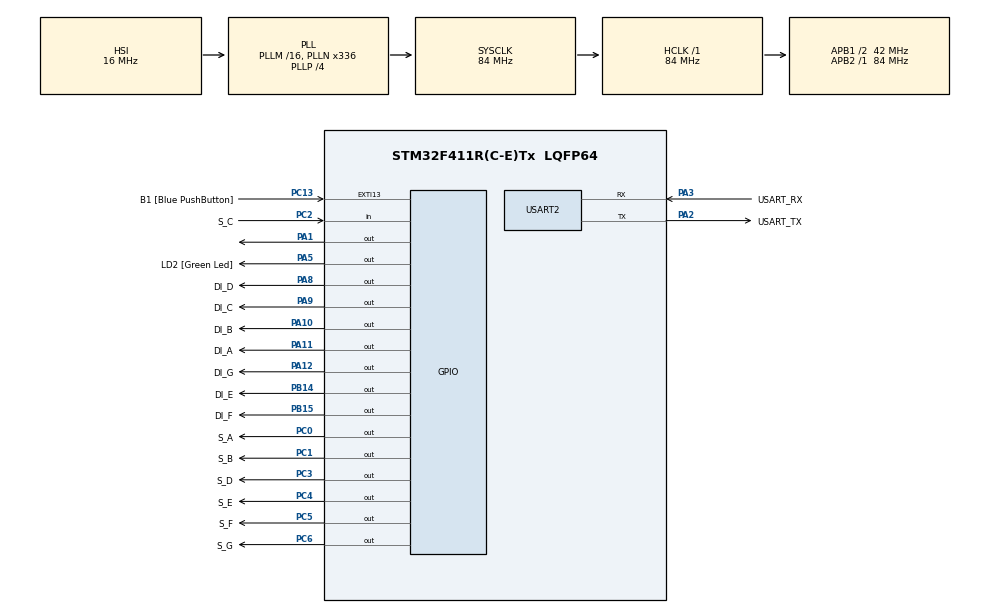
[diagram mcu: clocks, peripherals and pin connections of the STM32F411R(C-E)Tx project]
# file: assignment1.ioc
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Mcu.Family=STM32F4
Mcu.Name=STM32F411R(C-E)Tx
Mcu.Package=LQFP64
NVIC.PriorityGroup=NVIC_PRIORITYGROUP_0
PA1.Signal=GPIO_Output
PA10.GPIO_Label=DI_B
PA10.Signal=GPIO_Output
PA11.GPIO_Label=DI_A
PA11.Signal=GPIO_Output
PA12.GPIO_Label=DI_G
PA12.Signal=GPIO_Output
PA13.GPIO_Label=TMS
PA13.Mode=Serial_Wire
PA13.Signal=SYS_JTMS-SWDIO
PA14.GPIO_Label=TCK
PA14.Mode=Serial_Wire
PA14.Signal=SYS_JTCK-SWCLK
PA2.GPIO_Label=USART_TX
PA2.Mode=Asynchronous
PA2.Signal=USART2_TX
PA3.GPIO_Label=USART_RX
PA3.Mode=Asynchronous
PA3.Signal=USART2_RX
PA5.GPIO_Label=LD2 [Green Led]
PA5.Signal=GPIO_Output
PA8.GPIO_Label=DI_D
PA8.Signal=GPIO_Output
PA9.GPIO_Label=DI_C
PA9.Signal=GPIO_Output
PB14.GPIO_Label=DI_E
PB14.Signal=GPIO_Output
PB15.GPIO_Label=DI_F
PB15.Signal=GPIO_Output
PB3.GPIO_Label=SWO
PB3.Signal=SYS_JTDO-SWO
PC0.GPIO_Label=S_A
PC0.Signal=GPIO_Output
PC1.GPIO_Label=S_B
PC1.Signal=GPIO_Output
PC13-ANTI_TAMP.GPIO_Label=B1 [Blue PushButton]
PC13-ANTI_TAMP.GPIO_ModeDefaultEXTI=GPIO_MODE_IT_FALLING
PC13-ANTI_TAMP.Signal=GPXTI13
PC14-OSC32_IN.Mode=LSE-External-Oscillator
PC14-OSC32_IN.Signal=RCC_OSC32_IN
PC15-OSC32_OUT.Mode=LSE-External-Oscillator
PC15-OSC32_OUT.Signal=RCC_OSC32_OUT
PC2.GPIO_Label=S_C
PC2.Signal=GPIO_Input
PC3.GPIO_Label=S_D
PC3.Signal=GPIO_Output
PC4.GPIO_Label=S_E
PC4.Signal=GPIO_Output
PC5.GPIO_Label=S_F
PC5.Signal=GPIO_Output
PC6.GPIO_Label=S_G
PC6.Signal=GPIO_Output
PH0\ -\ OSC_IN.Mode=HSE-External-Clock-Source
PH0\ -\ OSC_IN.Signal=RCC_OSC_IN
PH1\ -\ OSC_OUT.Mode=HSE-External-Clock-Source
PH1\ -\ OSC_OUT.Signal=RCC_OSC_OUT
ProjectManager.HeapSize=0x200
ProjectManager.StackSize=0x400
ProjectManager.TargetToolchain=STM32CubeIDE
RCC.48MHZClocksFreq_Value=84000000
RCC.AHBFreq_Value=84000000
RCC.APB1CLKDivider=RCC_HCLK_DIV2
RCC.APB1Freq_Value=42000000
RCC.APB1TimFreq_Value=84000000
RCC.APB2Freq_Value=84000000
RCC.APB2TimFreq_Value=84000000
RCC.CortexFreq_Value=84000000
RCC.FLatency-AdvancedSettings=FLASH_LATENCY_2
RCC.HCLKFreq_Value=84000000
RCC.HSE_VALUE=8000000
RCC.HSI_VALUE=16000000
RCC.PLLN=336
RCC.PLLP=RCC_PLLP_DIV4
RCC.SYSCLKFreq_VALUE=84000000
RCC.SYSCLKSource=RCC_SYSCLKSOURCE_PLLCLK
RCC.VCOOutputFreq_Value=336000000
USART2.VirtualMode=VM_ASYNC
board=NUCLEO-F411RE

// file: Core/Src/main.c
/* USER CODE BEGIN Header */
/**
  ******************************************************************************
  * @file           : main.c
  * @brief          : Main program body
  ******************************************************************************
  * @attention
  *
  * Copyright (c) 2023 STMicroelectronics.
  * All rights reserved.
  *
  * This software is licensed under terms that can be found in the LICENSE file
  * in the root directory of this software component.
  * If no LICENSE file comes with this software, it is provided AS-IS.
  *
  ******************************************************************************
  */
/* USER CODE END Header */
#include "main.h"

UART_HandleTypeDef huart2;

void SystemClock_Config(void);
static void MX_GPIO_Init(void);
static void MX_USART2_UART_Init(void);
/* USER CODE BEGIN PFP */
int is_button_pressed()
{
	if(GPIOC->IDR & 0x2000)
	{
		return 0;
	}
	else
	{
		return 1;
	}
}

const int sseg[10] = {0x3f,0x06,0x5B,0x4F,0x66,0x6D,0x7D,0x7,0x7F,0x6F};
const int sseg_err = 0xDC;

void put_on_die_dots(int num_dice)
{

	GPIO_PinState a,b,c,d,e,f,g;
	a = b = c = d = e = f = g = GPIO_PIN_RESET;

	switch(num_dice)
	{
	case 1:
		d = GPIO_PIN_SET;
	break;

	case 2:
		 b = f = GPIO_PIN_SET;
	break;

	case 3:
		a = d = g = GPIO_PIN_SET;
	break;

	case 4:
		a = c = e = g = GPIO_PIN_SET;
	break;

	case 5:
		g = e = d = c = a = GPIO_PIN_SET;
	break;

	case 6:
		a = b = c = e = f = g = GPIO_PIN_SET;

	break;

	default:
		break;
	}

	HAL_GPIO_WritePin(DI_A_GPIO_Port, DI_A_Pin, a);
	HAL_GPIO_WritePin(DI_B_GPIO_Port, DI_B_Pin, b);
	HAL_GPIO_WritePin(DI_C_GPIO_Port, DI_C_Pin, c);
	HAL_GPIO_WritePin(DI_D_GPIO_Port, DI_D_Pin, d);
	HAL_GPIO_WritePin(DI_E_GPIO_Port, DI_E_Pin, e);
	HAL_GPIO_WritePin(DI_F_GPIO_Port, DI_F_Pin, f);
	HAL_GPIO_WritePin(DI_G_GPIO_Port, DI_G_Pin, g);

}

void put_on_sseg(int dec_nbr)
{
	if((dec_nbr > 0) && (dec_nbr < 10))
	{
		GPIOC->ODR = sseg[dec_nbr];
	}
	else
	{
		GPIOC->ODR = sseg_err;
	}
}

/* USER CODE END PFP */

int main(void)
{

  /* MCU Configuration--------------------------------------------------------*/

  /* Reset of all peripherals, Initializes the Flash interface and the Systick. */
  HAL_Init();

  /* Configure the system clock */
  SystemClock_Config();

  /* Initialize all configured peripherals */
  MX_GPIO_Init();
  MX_USART2_UART_Init();

  /* Infinite loop */
  /* USER CODE BEGIN WHILE */
  	  int pressed;
  	  int counter = 1;
  while (1)
  {
	  pressed = is_button_pressed();

	  if(pressed)
	  {
		  HAL_GPIO_WritePin(LD2_GPIO_Port,LD2_Pin,GPIO_PIN_SET);
		  if(counter == 6)
		  {
			  counter = 1;
		  }
		  else
		  {
			  counter++;
		  }
	  }
	  else
	  {
		  HAL_GPIO_WritePin(LD2_GPIO_Port,LD2_Pin,GPIO_PIN_RESET);
	  }
	  	  put_on_die_dots(counter);
		  put_on_sseg(counter);
		  HAL_Delay(200);
    /* USER CODE END WHILE */

  }
}

void SystemClock_Config(void)
{
  RCC_OscInitTypeDef RCC_OscInitStruct = {0};
  RCC_ClkInitTypeDef RCC_ClkInitStruct = {0};

  /** Configure the main internal regulator output voltage
  */
  __HAL_RCC_PWR_CLK_ENABLE();
  __HAL_PWR_VOLTAGESCALING_CONFIG(PWR_REGULATOR_VOLTAGE_SCALE1);

  /** Initializes the RCC Oscillators according to the specified parameters
  * in the RCC_OscInitTypeDef structure.
  */
  RCC_OscInitStruct.OscillatorType = RCC_OSCILLATORTYPE_HSI;
  RCC_OscInitStruct.HSIState = RCC_HSI_ON;
  RCC_OscInitStruct.HSICalibrationValue = RCC_HSICALIBRATION_DEFAULT;
  RCC_OscInitStruct.PLL.PLLState = RCC_PLL_ON;
  RCC_OscInitStruct.PLL.PLLSource = RCC_PLLSOURCE_HSI;
  RCC_OscInitStruct.PLL.PLLM = 16;
  RCC_OscInitStruct.PLL.PLLN = 336;
  RCC_OscInitStruct.PLL.PLLP = RCC_PLLP_DIV4;
  RCC_OscInitStruct.PLL.PLLQ = 4;
  if (HAL_RCC_OscConfig(&RCC_OscInitStruct) != HAL_OK)
  {
    Error_Handler();
  }

  /** Initializes the CPU, AHB and APB buses clocks
  */
  RCC_ClkInitStruct.ClockType = RCC_CLOCKTYPE_HCLK|RCC_CLOCKTYPE_SYSCLK
                              |RCC_CLOCKTYPE_PCLK1|RCC_CLOCKTYPE_PCLK2;
  RCC_ClkInitStruct.SYSCLKSource = RCC_SYSCLKSOURCE_PLLCLK;
  RCC_ClkInitStruct.AHBCLKDivider = RCC_SYSCLK_DIV1;
  RCC_ClkInitStruct.APB1CLKDivider = RCC_HCLK_DIV2;
  RCC_ClkInitStruct.APB2CLKDivider = RCC_HCLK_DIV1;

  if (HAL_RCC_ClockConfig(&RCC_ClkInitStruct, FLASH_LATENCY_2) != HAL_OK)
  {
    Error_Handler();
  }
}

static void MX_USART2_UART_Init(void)
{

  huart2.Instance = USART2;
  huart2.Init.BaudRate = 115200;
  huart2.Init.WordLength = UART_WORDLENGTH_8B;
  huart2.Init.StopBits = UART_STOPBITS_1;
  huart2.Init.Parity = UART_PARITY_NONE;
  huart2.Init.Mode = UART_MODE_TX_RX;
  huart2.Init.HwFlowCtl = UART_HWCONTROL_NONE;
  huart2.Init.OverSampling = UART_OVERSAMPLING_16;
  if (HAL_UART_Init(&huart2) != HAL_OK)
  {
    Error_Handler();
  }

}

static void MX_GPIO_Init(void)
{
  GPIO_InitTypeDef GPIO_InitStruct = {0};

  /* GPIO Ports Clock Enable */
  __HAL_RCC_GPIOC_CLK_ENABLE();
  __HAL_RCC_GPIOH_CLK_ENABLE();
  __HAL_RCC_GPIOA_CLK_ENABLE();
  __HAL_RCC_GPIOB_CLK_ENABLE();

  /*Configure GPIO pin Output Level */
  HAL_GPIO_WritePin(GPIOC, S_A_Pin|S_B_Pin|S_D_Pin|S_E_Pin
                          |S_F_Pin|S_G_Pin, GPIO_PIN_RESET);

  /*Configure GPIO pin Output Level */
  HAL_GPIO_WritePin(GPIOA, GPIO_PIN_1|LD2_Pin|DI_D_Pin|DI_C_Pin
                          |DI_B_Pin|DI_A_Pin|DI_G_Pin, GPIO_PIN_RESET);

  /*Configure GPIO pin Output Level */
  HAL_GPIO_WritePin(GPIOB, DI_E_Pin|DI_F_Pin, GPIO_PIN_RESET);

  /*Configure GPIO pin : B1_Pin */
  GPIO_InitStruct.Pin = B1_Pin;
  GPIO_InitStruct.Mode = GPIO_MODE_IT_FALLING;
  GPIO_InitStruct.Pull = GPIO_NOPULL;
  HAL_GPIO_Init(B1_GPIO_Port, &GPIO_InitStruct);

  /*Configure GPIO pins : S_A_Pin S_B_Pin S_D_Pin S_E_Pin
                           S_F_Pin S_G_Pin */
  GPIO_InitStruct.Pin = S_A_Pin|S_B_Pin|S_D_Pin|S_E_Pin
                          |S_F_Pin|S_G_Pin;
  GPIO_InitStruct.Mode = GPIO_MODE_OUTPUT_PP;
  GPIO_InitStruct.Pull = GPIO_NOPULL;
  GPIO_InitStruct.Speed = GPIO_SPEED_FREQ_LOW;
  HAL_GPIO_Init(GPIOC, &GPIO_InitStruct);

  /*Configure GPIO pin : S_C_Pin */
  GPIO_InitStruct.Pin = S_C_Pin;
  GPIO_InitStruct.Mode = GPIO_MODE_INPUT;
  GPIO_InitStruct.Pull = GPIO_NOPULL;
  HAL_GPIO_Init(S_C_GPIO_Port, &GPIO_InitStruct);

  /*Configure GPIO pins : PA1 LD2_Pin DI_D_Pin DI_C_Pin
                           DI_B_Pin DI_A_Pin DI_G_Pin */
  GPIO_InitStruct.Pin = GPIO_PIN_1|LD2_Pin|DI_D_Pin|DI_C_Pin
                          |DI_B_Pin|DI_A_Pin|DI_G_Pin;
  GPIO_InitStruct.Mode = GPIO_MODE_OUTPUT_PP;
  GPIO_InitStruct.Pull = GPIO_NOPULL;
  GPIO_InitStruct.Speed = GPIO_SPEED_FREQ_LOW;
  HAL_GPIO_Init(GPIOA, &GPIO_InitStruct);

  /*Configure GPIO pins : DI_E_Pin DI_F_Pin */
  GPIO_InitStruct.Pin = DI_E_Pin|DI_F_Pin;
  GPIO_InitStruct.Mode = GPIO_MODE_OUTPUT_PP;
  GPIO_InitStruct.Pull = GPIO_NOPULL;
  GPIO_InitStruct.Speed = GPIO_SPEED_FREQ_LOW;
  HAL_GPIO_Init(GPIOB, &GPIO_InitStruct);

}

void Error_Handler(void)
{
  __disable_irq();
  while (1)
  {
  }
}
